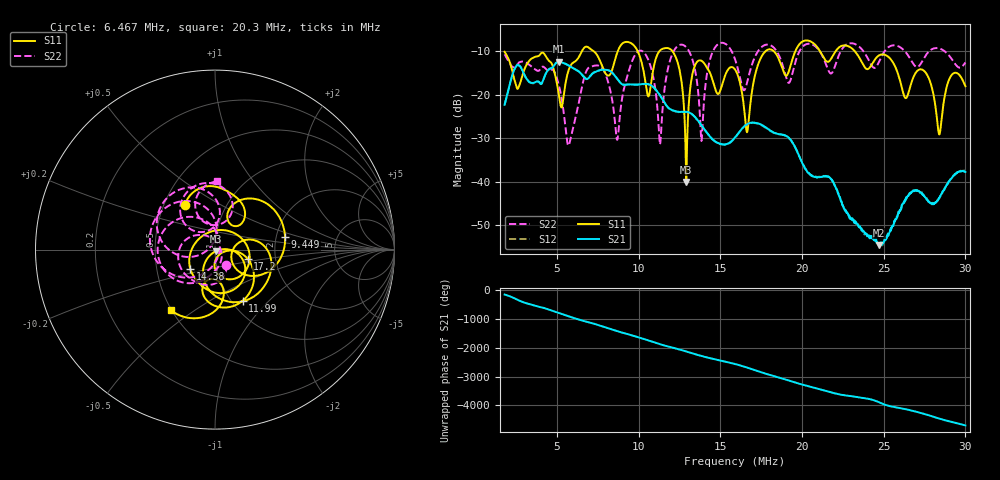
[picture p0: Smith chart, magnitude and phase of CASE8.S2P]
!Agilent Technologies,E5061B,MY49101568,A.02.00
!Date: Wed Mar 01 12:22:04 2023
!Data & Calibration Information:
!Freq	S11:SOLT2(OFF)	S21:SOLT2(OFF)	S12:SOLT2(OFF)	S22:SOLT2(OFF)
# Hz S dB R 50
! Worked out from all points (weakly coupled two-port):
!   1155 points, 1.8 MHz to 30 MHz, reference 50 ohm
!   highest |S21| = -12.48 dB at 5.099 MHz (marker M1); lowest = -54.5 dB at 24.72 MHz (marker M2)
!   lowest |S11| = -40.0 dB at 12.92 MHz (marker M3), VSWR 1.02, Z = 50.5 - j0.853 ohm
!   |S11| at or under -10 dB: start of sweep to 6.538 MHz; 12.06 MHz to 17.78 MHz (5.722 MHz wide, 38.3 % of centre); 23.22 MHz to end of sweep (the widest 3 of 7)
!   |S22| runs from -31.7 to -8.1 dB; largest |S21 - S12| = 0.0035
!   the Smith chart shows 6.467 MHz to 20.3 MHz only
!   S11 on the Smith chart (normalised r, x): 6.467 MHz: 0.64, +0.35; 9.449 MHz: 2.24, +0.37; 11.99 MHz: 1.12, -0.72; 14.38 MHz: 0.74, -0.17; 17.2 MHz: 1.43, -0.15; 20.3 MHz: 0.50, -0.41
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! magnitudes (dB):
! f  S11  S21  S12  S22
! 1.8 MHz  -10.2  -22.3  -22.4  -10.8
! 5.099 MHz  -19.5  -12.5  -12.4  -17.5
! 5.71 MHz  -14.5  -13.3  -13.3  -31.7
! 6.467 MHz  -10.5  -15.1  -15.1  -19.5
! 6.516 MHz  -10.2  -15.4  -15.3  -18.6
! 7.787 MHz  -13.6  -14.3  -14.2  -14.0
! 8.691 MHz  -10.4  -16.4  -16.3  -30.4
! 9.449 MHz  -8.0  -17.7  -17.6  -14.0
! 11.21 MHz  -10.4  -19.6  -19.7  -26.1
! 11.99 MHz  -9.7  -23.4  -23.5  -11.4
! 12.92 MHz  -40.0  -23.9  -24.0  -9.1
! 13.85 MHz  -12.2  -27.0  -27.1  -30.6
! 14.38 MHz  -15.1  -29.7  -29.7  -11.7
! 15.9 MHz  -14.2  -29.9  -29.9  -11.9
! 16.63 MHz  -28.6  -26.8  -26.8  -17.3
! 17.2 MHz  -14.5  -26.5  -26.6  -10.8
! 20.3 MHz  -7.6  -37.5  -37.5  -8.4
! 20.62 MHz  -8.0  -38.6  -38.6  -8.5
! 24.72 MHz  -11.0  -54.5  -54.3  -12.4
! 25.31 MHz  -11.4  -52.1  -51.6  -9.1
! 28.39 MHz  -29.1  -43.7  -43.8  -9.4
! 30 MHz  -18.1  -37.8  -37.7  -12.6
